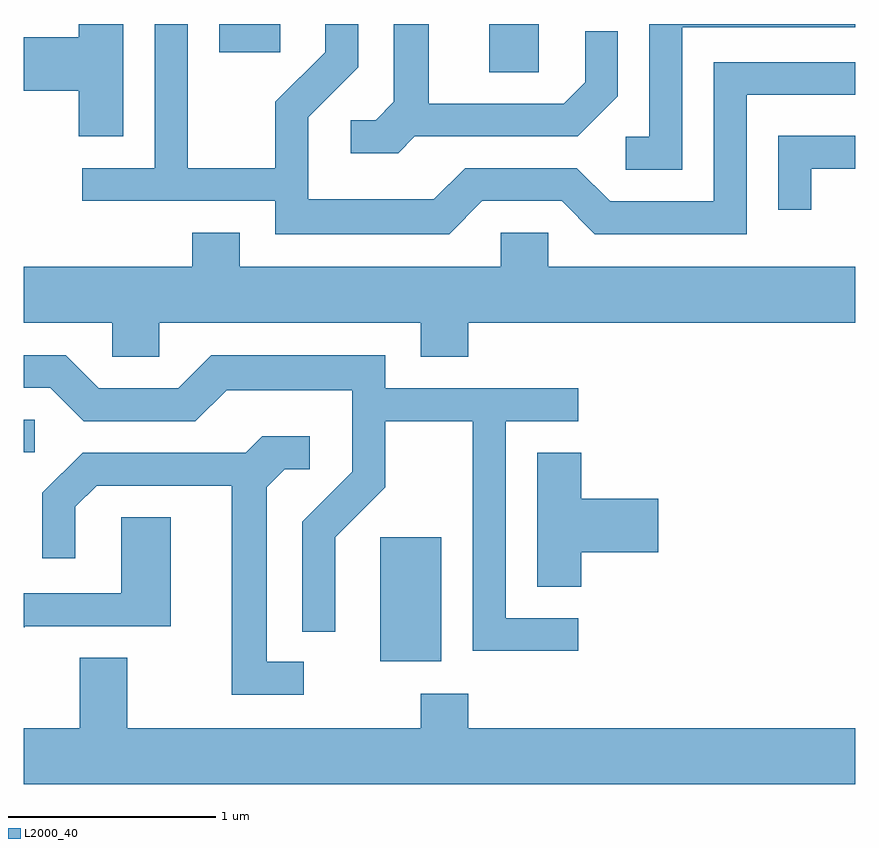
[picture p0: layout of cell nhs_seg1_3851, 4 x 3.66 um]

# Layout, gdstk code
import gdstk
lib = gdstk.Library(unit=1e-6, precision=1e-09)
def R(c, l, rs):  # rectangles x0, y0, x1, y1
    for r in rs: c.add(gdstk.rectangle(r[:2], r[2:], *l))
def P(c, l, *ps):  # polygons
    for p in ps: c.add(gdstk.Polygon(p, *l))
L2000_40 = (2000, 40)

nhs_seg1_3851 = lib.new_cell('nhs_seg1_3851')
R(nhs_seg1_3851, L2000_40, [(303.326,864.646,303.619,865.244), (301.611,865.651,301.663,865.809), (303.851,867.481,304.089,867.712), (302.551,867.576,302.844,867.712)])
P(nhs_seg1_3851, L2000_40, [(302.089,867.712),(301.876,867.712),(301.876,867.649),(301.611,867.649),(301.611,867.391),(301.876,867.391),(301.876,867.171),(302.089,867.171)],
  [(304.779,867.696),(305.611,867.696),(305.611,867.712),(304.621,867.712),(304.621,867.169),(304.508,867.169),(304.508,867.011),(304.779,867.011)],
  [(303.492,867.171),(304.277,867.171),(304.469,867.364),(304.469,867.678),(304.311,867.678),(304.311,867.432),(304.209,867.329),(303.559,867.329),(303.559,867.712),(303.391,867.712),(303.391,867.337),(303.304,867.249),(303.183,867.249),(303.183,867.091),(303.412,867.091)],
  [(303.817,866.861),(304.199,866.861),(304.359,866.701),(305.089,866.701),(305.089,867.371),(305.611,867.371),(305.611,867.529),(304.931,867.529),(304.931,866.859),(304.432,866.859),(304.272,867.019),(303.734,867.019),(303.584,866.869),(302.979,866.869),(302.979,867.264),(303.219,867.504),(303.219,867.712),(303.061,867.712),(303.061,867.577),(302.821,867.337),(302.821,867.019),(302.399,867.019),(302.399,867.712),(302.241,867.712),(302.241,867.019),(301.893,867.019),(301.893,866.861),(302.821,866.861),(302.821,866.701),(303.657,866.701)],
  [(305.399,867.016),(305.611,867.016),(305.611,867.174),(305.241,867.174),(305.241,866.818),(305.399,866.818)],
  [(302.264,866.276),(303.521,866.276),(303.521,866.111),(303.749,866.111),(303.749,866.276),(305.611,866.276),(305.611,866.544),(304.134,866.544),(304.134,866.709),(303.906,866.709),(303.906,866.544),(302.649,866.544),(302.649,866.709),(302.421,866.709),(302.421,866.544),(301.611,866.544),(301.611,866.276),(302.036,866.276),(302.036,866.111),(302.264,866.111)],
  [(304.278,864.854),(303.929,864.854),(303.929,865.801),(304.278,865.801),(304.278,865.959),(303.349,865.959),(303.349,866.119),(302.514,866.119),(302.354,865.959),(301.972,865.959),(301.812,866.119),(301.611,866.119),(301.611,865.961),(301.739,865.961),(301.899,865.801),(302.437,865.801),(302.587,865.951),(303.191,865.951),(303.191,865.557),(302.951,865.317),(302.951,864.788),(303.109,864.788),(303.109,865.244),(303.349,865.484),(303.349,865.801),(303.771,865.801),(303.771,864.696),(304.278,864.696)],
  [(302.958,864.644),(302.779,864.644),(302.779,865.484),(302.867,865.571),(302.988,865.571),(302.988,865.729),(302.759,865.729),(302.679,865.649),(301.894,865.649),(301.701,865.457),(301.701,865.143),(301.859,865.143),(301.859,865.389),(301.962,865.491),(302.611,865.491),(302.611,864.486),(302.958,864.486)],
  [(304.294,865.171),(304.664,865.171),(304.664,865.429),(304.294,865.429),(304.294,865.649),(304.081,865.649),(304.081,865.006),(304.294,865.006)],
  [(301.615,864.816),(302.319,864.816),(302.319,865.339),(302.081,865.339),(302.081,864.974),(301.611,864.974),(301.611,864.811),(301.615,864.811)],
  [(305.611,864.324),(303.749,864.324),(303.749,864.489),(303.521,864.489),(303.521,864.324),(302.109,864.324),(302.109,864.664),(301.881,864.664),(301.881,864.324),(301.611,864.324),(301.611,864.056),(305.611,864.056)])

lib.write_gds('nhs_seg1_3851.gds')
